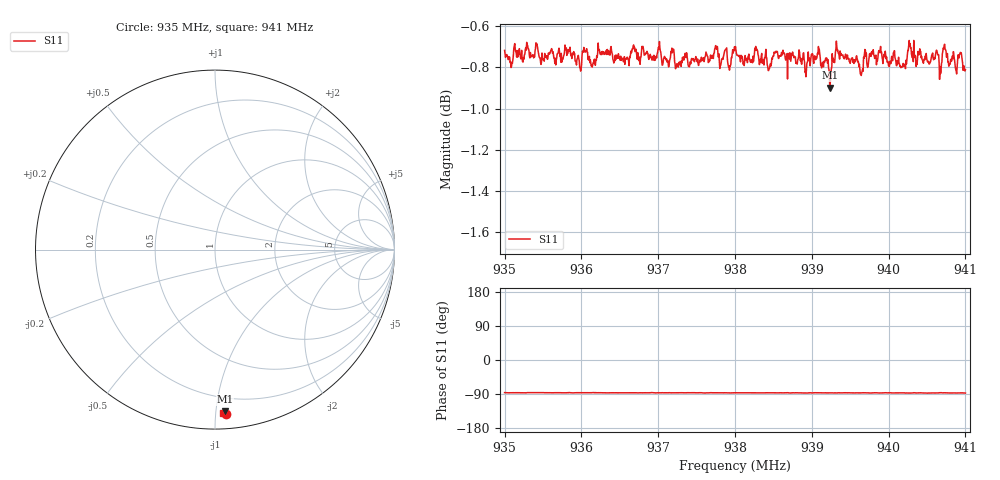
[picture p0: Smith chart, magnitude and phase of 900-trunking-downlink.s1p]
! Calibrated averaged scanner-service zoom
# Hz S RI R 50
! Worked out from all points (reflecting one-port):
!   1001 points, 935 MHz to 941 MHz, reference 50 ohm
!   lowest |S11| = -0.9 dB at 939.236 MHz (marker M1), VSWR 19.36, Z = 5.49 - j52.9 ohm
!   phase of S11 starts at -86 deg and turns -1 deg over the sweep
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9.35e8  0.0639 -0.9186
9.35252e8  0.0548 -0.9146
9.35432e8  0.0624 -0.9193
9.3575e8  0.0563 -0.9149
9.365e8  0.053 -0.9159
9.3701e8  0.0548 -0.9198
9.3725e8  0.0548 -0.9118
9.37538e8  0.0579 -0.9131
9.3761e8  0.0469 -0.9163
9.377e8  0.0569 -0.9151
9.38e8  0.0541 -0.9195
9.38444e8  0.0531 -0.9099
9.3875e8  0.0555 -0.9183
9.38924e8  0.0485 -0.906
9.3908e8  0.0566 -0.917
9.39236e8  0.0556 -0.9001
9.39338e8  0.0501 -0.9196
9.395e8  0.0527 -0.9126
9.39638e8  0.0507 -0.9072
9.39896e8  0.0495 -0.9215
9.39986e8  0.0521 -0.9134
9.4019e8  0.0549 -0.9124
9.4025e8  0.0468 -0.9195
9.40406e8  0.0535 -0.92
9.4052e8  0.0436 -0.9141
9.40694e8  0.0547 -0.9131
9.40736e8  0.0536 -0.9198
9.41e8  0.0421 -0.9099
